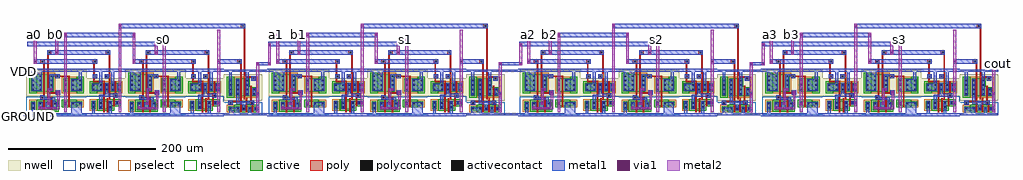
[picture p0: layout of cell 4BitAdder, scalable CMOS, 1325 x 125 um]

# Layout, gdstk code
import gdstk
lib = gdstk.Library(unit=1e-6, precision=1e-09)
def R(c, l, rs):  # rectangles x0, y0, x1, y1
    for r in rs: c.add(gdstk.rectangle(r[:2], r[2:], *l))
def A(c, l, x, y, w, h, nx, ny, dx, dy):  # array of equal rectangles
    R(c, l, [(x+i*dx, y+j*dy, x+i*dx+w, y+j*dy+h) for i in range(nx) for j in range(ny)])
def P(c, l, *ps):  # polygons
    for p in ps: c.add(gdstk.Polygon(p, *l))
pwell = (41, 0)
nwell = (42, 0)
active = (43, 0)
pselect = (44, 0)
nselect = (45, 0)
poly = (46, 0)
polycontact = (47, 0)
activecontact = (48, 0)
metal1 = (49, 0)
via1 = (50, 0)
metal2 = (51, 0)

c_153xor = lib.new_cell('153XOR')
R(c_153xor, pwell, [(-36,-45,46,-21)])
R(c_153xor, nwell, [(-36,-20,46,16)])
R(c_153xor, active, [(-30,-39,-24,-27), (-20,-39,6,-27), (14,-33,40,-27), (-30,-14,1,10), (14,-14,40,4)])
R(c_153xor, pselect, [(-32,-41,-22,-25), (32,-35,42,-25), (-22,-16,3,12), (12,-16,32,6)])
R(c_153xor, nselect, [(-22,-41,8,-25), (12,-35,32,-25), (-32,-16,-22,12), (32,-16,42,6)])
P(c_153xor, poly, [(-8,-23),(-3,-23),(-3,-42),(-1,-42),(-1,-21),(-6,-21),(-6,-17),(4,-17),(4,-18),(10,-18),(10,-12),(4,-12),(4,-15),(-6,-15),(-6,12),(-8,12)],
  [(3,4),(9,4),(9,6),(21,6),(21,-35),(23,-35),(23,8),(9,8),(9,10),(3,10)],
  [(-17,-25),(-13,-25),(-13,-42),(-11,-42),(-11,12),(-13,12),(-13,-19),(-17,-19)])
R(c_153xor, polycontact, [(-15,-23,-13,-21), (6,-16,8,-14), (5,6,7,8)])
A(c_153xor, activecontact, -28, -37, 2, 2, 4, 2, 10, 6)
A(c_153xor, activecontact, 16, -31, 2, 2, 3, 2, 10, 19)
A(c_153xor, activecontact, -28, -12, 2, 2, 1, 4, 0, 6)
A(c_153xor, activecontact, -18, -12, 2, 2, 1, 4, 0, 6)
A(c_153xor, activecontact, -3, -12, 2, 2, 1, 4, 0, 6)
A(c_153xor, activecontact, 16, -6, 2, 2, 3, 2, 10, 6)
R(c_153xor, metal1, [(-19,-38,-14,-28), (-10,-38,-4,-28), (15,-32,19,-28), (4,-18,10,-12), (15,-13,19,3)])
P(c_153xor, metal1, [(-36,13),(-29,13),(-29,-13),(-15,-13),(-15,13),(35,13),(35,3),(25,3),(25,-13),(39,-13),(39,13),(46,13),(46,16),(-36,16)],
  [(-17,-25),(0,-25),(0,-38),(5,-38),(5,-28),(3,-28),(3,-22),(-11,-22),(-11,-19),(-17,-19)],
  [(-36,-46),(46,-46),(46,-43),(39,-43),(39,-28),(25,-28),(25,-43),(-25,-43),(-25,-28),(-29,-28),(-29,-43),(-36,-43)],
  [(-5,-13),(0,-13),(0,7),(3,7),(3,4),(9,4),(9,10),(-5,10)])
R(c_153xor, via1, [(-18,-37,-16,-35), (-7,-31,-5,-29), (16,-31,18,-29), (6,-16,8,-14), (-4,-12,-2,-10), (16,-4,18,-2)])
R(c_153xor, metal2, [(15,-42,19,12)])
P(c_153xor, metal2, [(-19,-38),(9,-38),(9,-13),(5,-13),(5,-17),(6,-17),(6,-35),(-15,-35),(-15,-34),(-19,-34)],
  [(-8,-32),(-4,-32),(-4,-13),(-1,-13),(-1,-9),(-7,-9),(-7,-28),(-8,-28)])
c_153xor.add(gdstk.Label('B', (7,-23), layer=3, texttype=0))
c_153xor.add(gdstk.Label('XOR', (17,-41), layer=3, texttype=0))
c_153xor.add(gdstk.Label('XOR', (17,10), layer=42, texttype=0))
c_153xor.add(gdstk.Label('VDD', (4,14), layer=2, texttype=0))
c_153xor.add(gdstk.Label('GROUND', (3,-45), layer=2, texttype=0))
c_153xor.add(gdstk.Label('A', (-10,-24), layer=2, texttype=0))
c_153xor.add(gdstk.Label('A', (-13,-42), layer=49, texttype=0))
c_153xor.add(gdstk.Label('B', (-3,-42), layer=49, texttype=0))
c_153xor.add(gdstk.Label('A', (-13,11), layer=49, texttype=0))
c_153xor.add(gdstk.Label('B', (-8,11), layer=49, texttype=0))

c_153and = lib.new_cell('153AND')
R(c_153and, pwell, [(-56,-17,-4,7)])
R(c_153and, nwell, [(-56,7,-4,31)])
R(c_153and, active, [(-50,-11,-44,1), (-50,13,-10,25)])
P(c_153and, active, [(-40,-11),(-21,-11),(-21,-5),(-12,-5),(-12,1),(-40,1)])
R(c_153and, pselect, [(-52,-13,-42,3), (-42,11,-8,27)])
R(c_153and, nselect, [(-52,11,-42,27)])
P(c_153and, nselect, [(-42,-13),(-19,-13),(-19,-7),(-10,-7),(-10,3),(-42,3)])
P(c_153and, poly, [(-20,-7),(-18,-7),(-18,5),(-14,5),(-14,11),(-16,11),(-16,27),(-18,27),(-18,11),(-20,11)],
  [(-48,31),(-47,31),(-47,26),(-34,26),(-34,-15),(-32,-15),(-32,28),(-45,28),(-45,31),(-42,31),(-42,37),(-45,37),(-45,39),(-47,39),(-47,37),(-48,37)],
  [(-32,31),(-26,31),(-26,4),(-29,4),(-29,-15),(-27,-15),(-27,2),(-24,2),(-24,39),(-26,39),(-26,37),(-32,37)])
R(c_153and, polycontact, [(-18,7,-16,9), (-46,33,-44,35), (-30,33,-28,35)])
A(c_153and, activecontact, -38, 15, 2, 2, 4, 2, 8, 6)
R(c_153and, activecontact, [(-48,-9,-46,-7), (-38,-9,-36,-7), (-25,-9,-23,-7), (-48,-3,-46,-1), (-38,-3,-36,-1), (-25,-3,-23,-1), (-16,-3,-14,-1), (-48,15,-46,17), (-48,21,-46,23)])
R(c_153and, metal1, [(-17,-4,-9,0), (-15,14,-9,24), (-48,31,-42,37), (-32,31,-26,37)])
P(c_153and, metal1, [(-56,40),(-39,40),(-39,24),(-49,24),(-49,14),(-35,14),(-35,40),(-23,40),(-23,14),(-19,14),(-19,40),(-4,40),(-4,43),(-56,43)],
  [(-56,-19),(-4,-19),(-4,-16),(-22,-16),(-22,0),(-26,0),(-26,-16),(-45,-16),(-45,0),(-49,0),(-49,-16),(-56,-16)],
  [(-39,-10),(-35,-10),(-35,6),(-20,6),(-20,5),(-14,5),(-14,11),(-20,11),(-20,10),(-27,10),(-27,25),(-31,25),(-31,9),(-39,9)])
R(c_153and, via1, [(-12,-3,-10,-1), (-12,15,-10,17), (-12,21,-10,23)])
R(c_153and, metal2, [(-13,-15,-9,39)])
c_153and.add(gdstk.Label('B', (-28,-13), layer=46, texttype=0))
c_153and.add(gdstk.Label('OUT', (-12,-13), layer=46, texttype=0))
c_153and.add(gdstk.Label('A', (-34,-13), layer=46, texttype=0))
c_153and.add(gdstk.Label('VDD', (-37,41), layer=2, texttype=0))
c_153and.add(gdstk.Label('A', (-43,35), layer=2, texttype=0))
c_153and.add(gdstk.Label('B', (-27,35), layer=2, texttype=0))
c_153and.add(gdstk.Label('GROUND', (-40,-19), layer=2, texttype=0))
c_153and.add(gdstk.Label('OUT', (-12,34), layer=3, texttype=0))

halfadder = lib.new_cell('HalfAdder')
P(halfadder, poly, [(-1,40),(3,40),(3,28),(5,28),(5,46),(-1,46)],
  [(70,40),(71,40),(71,28),(73,28),(73,40),(76,40),(76,46),(70,46)],
  [(8,28),(10,28),(10,52),(14,52),(14,58),(8,58)],
  [(88,52),(92,52),(92,28),(94,28),(94,58),(88,58)])
R(halfadder, polycontact, [(1,42,3,44), (72,42,74,44), (10,54,12,56), (90,54,92,56)])
R(halfadder, metal1, [(-20,-31,114,-30), (-20,32,114,33), (-10,40,76,46), (8,52,94,58)])
R(halfadder, metal2, [(31,28,35,68), (105,28,109,86)])
halfadder.add(gdstk.Reference(c_153xor, (16,16)))
halfadder.add(gdstk.Reference(c_153and, (118,-11)))
halfadder.add(gdstk.Label('S', (33,64), layer=3, texttype=0))
halfadder.add(gdstk.Label('C', (107,82), layer=3, texttype=0))
halfadder.add(gdstk.Label('A', (14,41), layer=2, texttype=0))
halfadder.add(gdstk.Label('B', (18,53), layer=2, texttype=0))
halfadder.add(gdstk.Label('VDD', (20,33), layer=2, texttype=0))
halfadder.add(gdstk.Label('GROUND', (19,-31), layer=2, texttype=0))

c_153or = lib.new_cell('153OR')
R(c_153or, pwell, [(-67,8,-15,26)])
R(c_153or, nwell, [(-67,28,-15,64)])
R(c_153or, active, [(-61,14,-21,20), (-61,34,-55,58)])
P(c_153or, active, [(-51,34),(-23,34),(-23,46),(-32,46),(-32,58),(-51,58)])
R(c_153or, pselect, [(-63,12,-53,22), (-53,32,-21,60)])
R(c_153or, nselect, [(-53,12,-19,22), (-63,32,-53,60)])
P(c_153or, poly, [(-32,22),(-29,22),(-29,12),(-27,12),(-27,22),(-26,22),(-26,28),(-29,28),(-29,48),(-31,48),(-31,28),(-32,28)],
  [(-40,30),(-37,30),(-37,12),(-35,12),(-35,32),(-38,32),(-38,59),(-30,59),(-30,55),(-24,55),(-24,61),(-38,61),(-38,66),(-40,66)],
  [(-61,22),(-55,22),(-55,26),(-45,26),(-45,12),(-43,12),(-43,66),(-45,66),(-45,28),(-61,28)])
R(c_153or, polycontact, [(-59,24,-57,26), (-30,24,-28,26), (-28,57,-26,59)])
A(c_153or, activecontact, -49, 16, 2, 2, 4, 1, 8, 0)
A(c_153or, activecontact, -59, 36, 2, 2, 1, 4, 0, 6)
A(c_153or, activecontact, -49, 36, 2, 2, 1, 4, 0, 6)
A(c_153or, activecontact, -36, 36, 2, 2, 1, 4, 0, 6)
R(c_153or, activecontact, [(-59,16,-57,18), (-27,36,-25,38), (-27,42,-25,44)])
R(c_153or, metal1, [(-61,22,-55,28), (-30,55,-24,61)])
P(c_153or, metal1, [(-67,67),(-60,67),(-60,35),(-56,35),(-56,67),(-37,67),(-37,35),(-33,35),(-33,67),(-15,67),(-15,70),(-67,70)],
  [(-67,8),(-15,8),(-15,11),(-30,11),(-30,19),(-34,19),(-34,11),(-46,11),(-46,19),(-50,19),(-50,18),(-56,18),(-56,19),(-60,19),(-60,11),(-67,11)],
  [(-50,23),(-42,23),(-42,15),(-38,15),(-38,23),(-32,23),(-32,22),(-26,22),(-26,28),(-32,28),(-32,27),(-46,27),(-46,57),(-50,57)],
  [(-28,35),(-23,35),(-23,19),(-26,19),(-26,15),(-19,15),(-19,39),(-24,39),(-24,45),(-28,45)])
R(c_153or, via1, [(-22,36,-20,38)])
R(c_153or, metal2, [(-23,12,-19,66)])
c_153or.add(gdstk.Label('OUT', (-21,65), layer=3, texttype=0))
c_153or.add(gdstk.Label('OUT', (-21,12), layer=3, texttype=0))
c_153or.add(gdstk.Label('B', (-44,12), layer=49, texttype=0))
c_153or.add(gdstk.Label('A', (-36,12), layer=49, texttype=0))
c_153or.add(gdstk.Label('B', (-44,65), layer=49, texttype=0))
c_153or.add(gdstk.Label('A', (-39,65), layer=49, texttype=0))
c_153or.add(gdstk.Label('VDD', (-52,68), layer=2, texttype=0))
c_153or.add(gdstk.Label('B', (-56,26), layer=2, texttype=0))
c_153or.add(gdstk.Label('GROUND', (-42,9), layer=2, texttype=0))
c_153or.add(gdstk.Label('A', (-25,58), layer=2, texttype=0))

fulladder = lib.new_cell('FullAdder')
P(fulladder, poly, [(246,11),(250,11),(250,-1),(252,-1),(252,17),(246,17)],
  [(251,59),(255,59),(255,-1),(257,-1),(257,65),(251,65)])
R(fulladder, polycontact, [(248,13,250,15), (253,61,255,63)])
R(fulladder, metal1, [(-42,-60,-40,-56), (-42,0,-40,4), (272,9,280,13), (219,11,252,17), (-37,35,138,41), (11,47,108,53), (85,59,257,65)])
R(fulladder, via1, [(273,10,275,12), (-29,13,-27,15), (105,13,107,15), (220,13,222,15), (0,25,2,27), (135,25,137,27), (135,37,137,39), (12,49,14,51), (105,49,107,51), (86,61,88,63)])
R(fulladder, metal2, [(272,-1,276,13), (-30,11,-26,50), (104,11,108,53), (-1,23,3,50), (134,23,138,41), (11,39,15,53), (145,39,149,43), (85,57,89,65)])
fulladder.add(gdstk.Reference(halfadder, (-20,-29)))
fulladder.add(gdstk.Reference(halfadder, (114,-29)))
fulladder.add(gdstk.Reference(c_153or, (295,-67)))
fulladder.add(gdstk.Label('C', (-35,37), layer=2, texttype=0))
fulladder.add(gdstk.Label('VDD', (-42,2), layer=2, texttype=0))
fulladder.add(gdstk.Label('GROUND', (-41,-58), layer=2, texttype=0))
fulladder.add(gdstk.Label('c+1', (277,11), layer=2, texttype=0))
fulladder.add(gdstk.Label('A', (-29,47), layer=3, texttype=0))
fulladder.add(gdstk.Label('B', (1,47), layer=3, texttype=0))
fulladder.add(gdstk.Label('s', (147,40), layer=3, texttype=0))

c_4bitadder = lib.new_cell('4BitAdder')
R(c_4bitadder, metal1, [(-142,-20,-140,-16), (182,-19,189,-16), (511,-19,530,-16), (852,-19,859,-16), (-142,40,-140,44), (182,40,189,43), (511,40,530,43), (852,40,859,43), (182,49,194,53), (511,49,535,53), (852,49,864,53), (1181,49,1183,53), (-137,75,-135,81), (190,75,194,81), (531,75,535,81), (860,75,864,81)])
R(c_4bitadder, via1, [(191,50,193,52), (532,50,534,52), (861,50,863,52), (191,76,193,78), (532,76,534,78), (861,76,863,78)])
R(c_4bitadder, metal2, [(190,49,194,79), (531,49,535,79), (860,49,864,79), (47,83,51,85), (376,83,380,85), (717,83,721,85), (1046,83,1050,85), (-128,90,-124,92), (-99,90,-95,92), (201,90,205,92), (230,90,234,92), (542,90,546,92), (571,90,575,92), (871,90,875,92), (900,90,904,92)])
c_4bitadder.add(gdstk.Reference(fulladder, (901,40)))
c_4bitadder.add(gdstk.Reference(fulladder, (572,40)))
c_4bitadder.add(gdstk.Reference(fulladder, (231,40)))
c_4bitadder.add(gdstk.Reference(fulladder, (-98,40)))
c_4bitadder.add(gdstk.Label('a0', (-127,91), layer=3, texttype=0))
c_4bitadder.add(gdstk.Label('b0', (-98,91), layer=3, texttype=0))
c_4bitadder.add(gdstk.Label('a1', (202,91), layer=3, texttype=0))
c_4bitadder.add(gdstk.Label('b1', (231,91), layer=3, texttype=0))
c_4bitadder.add(gdstk.Label('a3', (872,91), layer=3, texttype=0))
c_4bitadder.add(gdstk.Label('b3', (901,91), layer=3, texttype=0))
c_4bitadder.add(gdstk.Label('s0', (48,84), layer=3, texttype=0))
c_4bitadder.add(gdstk.Label('s1', (377,84), layer=3, texttype=0))
c_4bitadder.add(gdstk.Label('s2', (718,84), layer=3, texttype=0))
c_4bitadder.add(gdstk.Label('s3', (1047,84), layer=3, texttype=0))
c_4bitadder.add(gdstk.Label('a2', (543,91), layer=3, texttype=0))
c_4bitadder.add(gdstk.Label('b2', (572,91), layer=3, texttype=0))
c_4bitadder.add(gdstk.Label('GROUND', (-142,-20), layer=2, texttype=0))
c_4bitadder.add(gdstk.Label('VDD', (-142,40), layer=2, texttype=0))
c_4bitadder.add(gdstk.Label('cin', (-137,76), layer=2, texttype=0))
c_4bitadder.add(gdstk.Label('cout', (1182,51), layer=2, texttype=0))

lib.write_gds('4BitAdder.gds')
